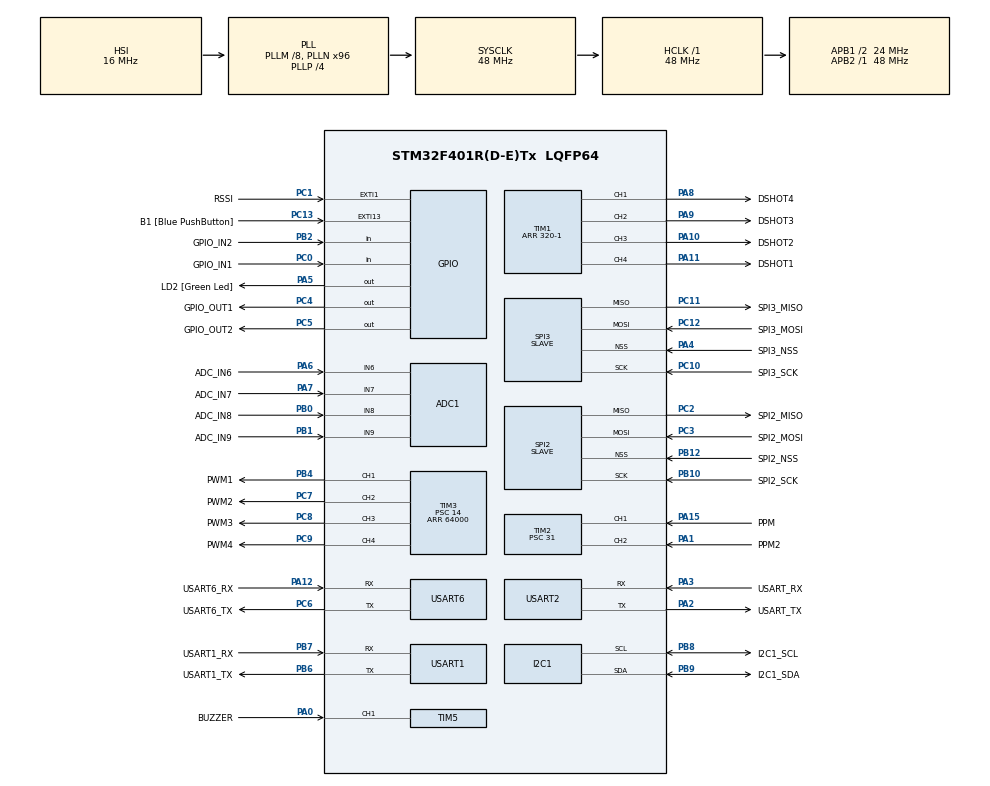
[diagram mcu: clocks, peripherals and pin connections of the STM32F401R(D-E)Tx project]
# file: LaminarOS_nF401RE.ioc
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ADC1.Channel-2\#ChannelRegularConversion=ADC_CHANNEL_6
ADC1.NbrOfConversionFlag=1
ADC1.Rank-2\#ChannelRegularConversion=1
ADC1.SamplingTime-2\#ChannelRegularConversion=ADC_SAMPLETIME_3CYCLES
ADC1.master=1
Dma.Request0=TIM1_CH1
Dma.Request1=TIM1_CH2
Dma.Request2=TIM1_CH3
Dma.Request3=TIM1_CH4/TRIG/COM
Dma.TIM1_CH1.0.Direction=DMA_MEMORY_TO_PERIPH
Dma.TIM1_CH1.0.FIFOMode=DMA_FIFOMODE_DISABLE
Dma.TIM1_CH1.0.Instance=DMA2_Stream1
Dma.TIM1_CH1.0.MemDataAlignment=DMA_MDATAALIGN_WORD
Dma.TIM1_CH1.0.MemInc=DMA_MINC_ENABLE
Dma.TIM1_CH1.0.Mode=DMA_CIRCULAR
Dma.TIM1_CH1.0.PeriphDataAlignment=DMA_PDATAALIGN_WORD
Dma.TIM1_CH1.0.PeriphInc=DMA_PINC_DISABLE
Dma.TIM1_CH1.0.Priority=DMA_PRIORITY_HIGH
Dma.TIM1_CH2.1.Direction=DMA_MEMORY_TO_PERIPH
Dma.TIM1_CH2.1.FIFOMode=DMA_FIFOMODE_DISABLE
Dma.TIM1_CH2.1.Instance=DMA2_Stream2
Dma.TIM1_CH2.1.MemDataAlignment=DMA_MDATAALIGN_WORD
Dma.TIM1_CH2.1.MemInc=DMA_MINC_ENABLE
Dma.TIM1_CH2.1.Mode=DMA_CIRCULAR
Dma.TIM1_CH2.1.PeriphDataAlignment=DMA_PDATAALIGN_WORD
Dma.TIM1_CH2.1.PeriphInc=DMA_PINC_DISABLE
Dma.TIM1_CH2.1.Priority=DMA_PRIORITY_HIGH
Dma.TIM1_CH3.2.Direction=DMA_MEMORY_TO_PERIPH
Dma.TIM1_CH3.2.FIFOMode=DMA_FIFOMODE_DISABLE
Dma.TIM1_CH3.2.Instance=DMA2_Stream6
Dma.TIM1_CH3.2.MemDataAlignment=DMA_MDATAALIGN_WORD
Dma.TIM1_CH3.2.MemInc=DMA_MINC_ENABLE
Dma.TIM1_CH3.2.Mode=DMA_CIRCULAR
Dma.TIM1_CH3.2.PeriphDataAlignment=DMA_PDATAALIGN_WORD
Dma.TIM1_CH3.2.PeriphInc=DMA_PINC_DISABLE
Dma.TIM1_CH3.2.Priority=DMA_PRIORITY_HIGH
Dma.TIM1_CH4/TRIG/COM.3.Direction=DMA_MEMORY_TO_PERIPH
Dma.TIM1_CH4/TRIG/COM.3.FIFOMode=DMA_FIFOMODE_DISABLE
Dma.TIM1_CH4/TRIG/COM.3.Instance=DMA2_Stream4
Dma.TIM1_CH4/TRIG/COM.3.MemDataAlignment=DMA_MDATAALIGN_WORD
Dma.TIM1_CH4/TRIG/COM.3.MemInc=DMA_MINC_ENABLE
Dma.TIM1_CH4/TRIG/COM.3.Mode=DMA_CIRCULAR
Dma.TIM1_CH4/TRIG/COM.3.PeriphDataAlignment=DMA_PDATAALIGN_WORD
Dma.TIM1_CH4/TRIG/COM.3.PeriphInc=DMA_PINC_DISABLE
Dma.TIM1_CH4/TRIG/COM.3.Priority=DMA_PRIORITY_HIGH
FREERTOS.Tasks01=defaultTask,24,128,StartDefaultTask,Default,NULL,Dynamic,NULL,NULL
FREERTOS.configENABLE_FPU=1
FREERTOS.configUSE_NEWLIB_REENTRANT=1
Mcu.Family=STM32F4
Mcu.Name=STM32F401R(D-E)Tx
Mcu.Package=LQFP64
NVIC.DMA2_Stream1_IRQn=true\:5\:0\:false\:false\:true\:true\:false\:true\:true
NVIC.DMA2_Stream2_IRQn=true\:5\:0\:false\:false\:true\:true\:false\:true\:true
NVIC.DMA2_Stream4_IRQn=true\:5\:0\:false\:false\:true\:true\:false\:true\:true
NVIC.DMA2_Stream6_IRQn=true\:5\:0\:false\:false\:true\:true\:false\:true\:true
NVIC.PriorityGroup=NVIC_PRIORITYGROUP_4
NVIC.TIM1_BRK_TIM9_IRQn=true\:5\:0\:false\:false\:true\:false\:false\:true\:true
NVIC.TIM1_TRG_COM_TIM11_IRQn=true\:15\:0\:false\:false\:true\:false\:false\:true\:true
NVIC.TIM1_UP_TIM10_IRQn=true\:5\:0\:false\:false\:true\:false\:false\:true\:true
NVIC.TimeBase=TIM1_TRG_COM_TIM11_IRQn
NVIC.TimeBaseIP=TIM11
PA0-WKUP.GPIO_Label=BUZZER
PA0-WKUP.Signal=S_TIM5_CH1
PA1.GPIO_Label=PPM2
PA1.Signal=S_TIM2_CH2
PA10.GPIO_Label=DSHOT2
PA10.Signal=S_TIM1_CH3
PA11.GPIO_Label=DSHOT1
PA11.Signal=S_TIM1_CH4
PA12.GPIO_Label=USART6_RX
PA12.Mode=Asynchronous
PA12.Signal=USART6_RX
PA13.GPIO_Label=TMS
PA13.Mode=Serial_Wire
PA13.Signal=SYS_JTMS-SWDIO
PA14.GPIO_Label=TCK
PA14.Mode=Serial_Wire
PA14.Signal=SYS_JTCK-SWCLK
PA15.GPIO_Label=PPM
PA15.Signal=S_TIM2_CH1_ETR
PA2.GPIO_Label=USART_TX
PA2.GPIO_Mode=GPIO_MODE_AF_PP
PA2.GPIO_PuPd=GPIO_NOPULL
PA2.GPIO_Speed=GPIO_SPEED_FREQ_LOW
PA2.Mode=Asynchronous
PA2.Signal=USART2_TX
PA3.GPIO_Label=USART_RX
PA3.GPIO_Mode=GPIO_MODE_AF_PP
PA3.GPIO_PuPd=GPIO_NOPULL
PA3.GPIO_Speed=GPIO_SPEED_FREQ_LOW
PA3.Mode=Asynchronous
PA3.Signal=USART2_RX
PA4.GPIO_Label=SPI3_NSS
PA4.Mode=NSS_Signal_Hard_Input
PA4.Signal=SPI3_NSS
PA5.GPIO_Label=LD2 [Green Led]
PA5.GPIO_PuPd=GPIO_NOPULL
PA5.GPIO_Speed=GPIO_SPEED_FREQ_LOW
PA5.Signal=GPIO_Output
PA6.GPIO_Label=ADC_IN6
PA6.Signal=ADCx_IN6
PA7.GPIO_Label=ADC_IN7
PA7.Signal=ADCx_IN7
PA8.GPIO_Label=DSHOT4
PA8.Signal=S_TIM1_CH1
PA9.GPIO_Label=DSHOT3
PA9.Signal=S_TIM1_CH2
PB0.GPIO_Label=ADC_IN8
PB0.Signal=ADCx_IN8
PB1.GPIO_Label=ADC_IN9
PB1.Signal=ADCx_IN9
PB10.GPIO_Label=SPI2_SCK
PB10.Mode=Full_Duplex_Slave
PB10.Signal=SPI2_SCK
PB12.GPIO_Label=SPI2_NSS
PB12.Mode=NSS_Signal_Hard_Input
PB12.Signal=SPI2_NSS
PB2.GPIO_Label=GPIO_IN2
PB2.Signal=GPIO_Input
PB3.GPIO_Label=SWO
PB3.Signal=SYS_JTDO-SWO
PB4.GPIO_Label=PWM1
PB4.Signal=S_TIM3_CH1
PB6.GPIO_Label=USART1_TX
PB6.Mode=Asynchronous
PB6.Signal=USART1_TX
PB7.GPIO_Label=USART1_RX
PB7.Mode=Asynchronous
PB7.Signal=USART1_RX
PB8.GPIO_Label=I2C1_SCL
PB8.Mode=I2C
PB8.Signal=I2C1_SCL
PB9.GPIO_Label=I2C1_SDA
PB9.Mode=I2C
PB9.Signal=I2C1_SDA
PC0.GPIO_Label=GPIO_IN1
PC0.Signal=GPIO_Input
PC1.GPIO_Label=RSSI
PC1.Signal=GPXTI1
PC10.GPIO_Label=SPI3_SCK
PC10.Mode=Full_Duplex_Slave
PC10.Signal=SPI3_SCK
PC11.GPIO_Label=SPI3_MISO
PC11.Mode=Full_Duplex_Slave
PC11.Signal=SPI3_MISO
PC12.GPIO_Label=SPI3_MOSI
PC12.Mode=Full_Duplex_Slave
PC12.Signal=SPI3_MOSI
PC13-ANTI_TAMP.GPIO_Label=B1 [Blue PushButton]
PC13-ANTI_TAMP.GPIO_ModeDefaultEXTI=GPIO_MODE_IT_FALLING
PC13-ANTI_TAMP.GPIO_PuPd=GPIO_NOPULL
PC13-ANTI_TAMP.Signal=GPXTI13
PC14-OSC32_IN.Mode=LSE-External-Oscillator
PC14-OSC32_IN.Signal=RCC_OSC32_IN
PC15-OSC32_OUT.Mode=LSE-External-Oscillator
PC15-OSC32_OUT.Signal=RCC_OSC32_OUT
PC2.GPIO_Label=SPI2_MISO
PC2.Mode=Full_Duplex_Slave
PC2.Signal=SPI2_MISO
PC3.GPIO_Label=SPI2_MOSI
PC3.Mode=Full_Duplex_Slave
PC3.Signal=SPI2_MOSI
PC4.GPIO_Label=GPIO_OUT1
PC4.Signal=GPIO_Output
PC5.GPIO_Label=GPIO_OUT2
PC5.Signal=GPIO_Output
PC6.GPIO_Label=USART6_TX
PC6.Mode=Asynchronous
PC6.Signal=USART6_TX
PC7.GPIO_Label=PWM2
PC7.Signal=S_TIM3_CH2
PC8.GPIO_Label=PWM3
PC8.Signal=S_TIM3_CH3
PC9.GPIO_Label=PWM4
PC9.Signal=S_TIM3_CH4
PH0\ -\ OSC_IN.Mode=HSE-External-Clock-Source
PH0\ -\ OSC_IN.Signal=RCC_OSC_IN
PH1\ -\ OSC_OUT.Mode=HSE-External-Clock-Source
PH1\ -\ OSC_OUT.Signal=RCC_OSC_OUT
ProjectManager.HeapSize=0x200
ProjectManager.StackSize=0x400
ProjectManager.TargetToolchain=STM32CubeIDE
RCC.48MHZClocksFreq_Value=27428571.42857143
RCC.AHBFreq_Value=48000000
RCC.APB1CLKDivider=RCC_HCLK_DIV2
RCC.APB1Freq_Value=24000000
RCC.APB1TimFreq_Value=48000000
RCC.APB2Freq_Value=48000000
RCC.APB2TimFreq_Value=48000000
RCC.CortexFreq_Value=48000000
RCC.HCLKFreq_Value=48000000
RCC.HSE_VALUE=8000000
RCC.HSI_VALUE=16000000
RCC.PLLM=8
RCC.PLLN=96
RCC.PLLP=RCC_PLLP_DIV4
RCC.PLLQ=7
RCC.SYSCLKFreq_VALUE=48000000
RCC.SYSCLKSource=RCC_SYSCLKSOURCE_PLLCLK
RCC.VCOOutputFreq_Value=192000000
SH.ADCx_IN6.0=ADC1_IN6,IN6
SH.ADCx_IN7.0=ADC1_IN7,IN7
SH.ADCx_IN8.0=ADC1_IN8,IN8
SH.ADCx_IN9.0=ADC1_IN9,IN9
SH.S_TIM1_CH1.0=TIM1_CH1,PWM Generation1 CH1
SH.S_TIM1_CH2.0=TIM1_CH2,PWM Generation2 CH2
SH.S_TIM1_CH3.0=TIM1_CH3,PWM Generation3 CH3
SH.S_TIM1_CH4.0=TIM1_CH4,PWM Generation4 CH4
SH.S_TIM2_CH1_ETR.0=TIM2_CH1,Input_Capture1_from_TI1
SH.S_TIM2_CH2.0=TIM2_CH2,Input_Capture2_from_TI2
SH.S_TIM3_CH1.0=TIM3_CH1,PWM Generation1 CH1
SH.S_TIM3_CH2.0=TIM3_CH2,PWM Generation2 CH2
SH.S_TIM3_CH3.0=TIM3_CH3,PWM Generation3 CH3
SH.S_TIM3_CH4.0=TIM3_CH4,PWM Generation4 CH4
SH.S_TIM5_CH1.0=TIM5_CH1,Input_Capture1_from_TI1
SPI2.CLKPhase=SPI_PHASE_2EDGE
SPI2.Direction=SPI_DIRECTION_2LINES
SPI2.Mode=SPI_MODE_SLAVE
SPI2.VirtualNSS=VM_NSSHARD
SPI2.VirtualType=VM_SLAVE
SPI3.CLKPhase=SPI_PHASE_2EDGE
SPI3.Direction=SPI_DIRECTION_2LINES
SPI3.Mode=SPI_MODE_SLAVE
SPI3.VirtualNSS=VM_NSSHARD
SPI3.VirtualType=VM_SLAVE
TIM1.Channel-PWM\ Generation1\ CH1=TIM_CHANNEL_1
TIM1.Channel-PWM\ Generation2\ CH2=TIM_CHANNEL_2
TIM1.Channel-PWM\ Generation3\ CH3=TIM_CHANNEL_3
TIM1.Channel-PWM\ Generation4\ CH4=TIM_CHANNEL_4
TIM1.Period=320-1
TIM2.AutoReloadPreload=TIM_AUTORELOAD_PRELOAD_ENABLE
TIM2.Channel-Input_Capture1_from_TI1=TIM_CHANNEL_1
TIM2.Channel-Input_Capture2_from_TI2=TIM_CHANNEL_2
TIM2.Period=65535
TIM2.Prescaler=31
TIM3.Channel-PWM\ Generation1\ CH1=TIM_CHANNEL_1
TIM3.Channel-PWM\ Generation2\ CH2=TIM_CHANNEL_2
TIM3.Channel-PWM\ Generation3\ CH3=TIM_CHANNEL_3
TIM3.Channel-PWM\ Generation4\ CH4=TIM_CHANNEL_4
TIM3.Period=64000
TIM3.Prescaler=14
TIM5.Channel-Input_Capture1_from_TI1=TIM_CHANNEL_1
TIM5.Period=48000
TIM5.Prescaler=2
USART1.VirtualMode=VM_ASYNC
USART2.VirtualMode=VM_ASYNC
USART6.VirtualMode=VM_ASYNC
VP_ADC1_Vbat_Input.Mode=IN-Vbat
VP_FREERTOS_VS_CMSIS_V2.Mode=CMSIS_V2
VP_SYS_VS_tim11.Mode=TIM11
VP_TIM1_VS_ClockSourceINT.Mode=Internal
VP_TIM2_VS_ClockSourceINT.Mode=Internal
VP_TIM3_VS_ClockSourceINT.Mode=Internal
VP_TIM5_VS_ClockSourceINT.Mode=Internal
board=NUCLEO-F401RE

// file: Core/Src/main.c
/* USER CODE BEGIN Header */
/**
  ******************************************************************************
  * @file           : main.c
  * @brief          : Main program body
  ******************************************************************************
  * @attention
  *
  * Copyright (c) 2022 STMicroelectronics.
  * All rights reserved.
  *
  * This software is licensed under terms that can be found in the LICENSE file
  * in the root directory of this software component.
  * If no LICENSE file comes with this software, it is provided AS-IS.
  *
  ******************************************************************************
  */
/* USER CODE END Header */
#include "main.h"
#include "cmsis_os.h"
#include "adc.h"
#include "dma.h"
#include "i2c.h"
#include "spi.h"
#include "tim.h"
#include "usart.h"
#include "gpio.h"

void SystemClock_Config(void);
void MX_FREERTOS_Init(void);

/* USER CODE BEGIN 0 */

void losInit(void)
{
  /* Reset of all peripherals, Initializes the Flash interface and the Systick. */
  HAL_Init();

  SensorFusionInterfaceInit();
  SystemClock_Config();

  /* Initialize all configured peripherals */
  MX_GPIO_Init();
  MX_USART2_UART_Init();
  MX_DMA_Init();
  MX_TIM3_Init();
  MX_TIM1_Init();
  MX_ADC1_Init();
  MX_I2C1_Init();
  MX_SPI2_Init();
  MX_SPI3_Init();
  MX_TIM2_Init();
  MX_TIM5_Init();
  MX_USART1_UART_Init();
  MX_USART6_UART_Init();

  /* Init scheduler */
  osKernelInitialize();  /* Call init function for freertos objects (in freertos.c) */
  MX_FREERTOS_Init();
}

void losKernelStart(void) {
  /* Start scheduler */
  osKernelStart();
}

/* USER CODE END 0 */

void SystemClock_Config(void)
{
  RCC_OscInitTypeDef RCC_OscInitStruct = {0};
  RCC_ClkInitTypeDef RCC_ClkInitStruct = {0};

  /** Configure the main internal regulator output voltage
  */
  __HAL_RCC_PWR_CLK_ENABLE();
  __HAL_PWR_VOLTAGESCALING_CONFIG(PWR_REGULATOR_VOLTAGE_SCALE2);

  /** Initializes the RCC Oscillators according to the specified parameters
  * in the RCC_OscInitTypeDef structure.
  */
  RCC_OscInitStruct.OscillatorType = RCC_OSCILLATORTYPE_HSI;
  RCC_OscInitStruct.HSIState = RCC_HSI_ON;
  RCC_OscInitStruct.HSICalibrationValue = RCC_HSICALIBRATION_DEFAULT;
  RCC_OscInitStruct.PLL.PLLState = RCC_PLL_ON;
  RCC_OscInitStruct.PLL.PLLSource = RCC_PLLSOURCE_HSI;
  RCC_OscInitStruct.PLL.PLLM = 8;
  RCC_OscInitStruct.PLL.PLLN = 96;
  RCC_OscInitStruct.PLL.PLLP = RCC_PLLP_DIV4;
  RCC_OscInitStruct.PLL.PLLQ = 7;
  if (HAL_RCC_OscConfig(&RCC_OscInitStruct) != HAL_OK)
  {
    Error_Handler();
  }

  /** Initializes the CPU, AHB and APB buses clocks
  */
  RCC_ClkInitStruct.ClockType = RCC_CLOCKTYPE_HCLK|RCC_CLOCKTYPE_SYSCLK
                              |RCC_CLOCKTYPE_PCLK1|RCC_CLOCKTYPE_PCLK2;
  RCC_ClkInitStruct.SYSCLKSource = RCC_SYSCLKSOURCE_PLLCLK;
  RCC_ClkInitStruct.AHBCLKDivider = RCC_SYSCLK_DIV1;
  RCC_ClkInitStruct.APB1CLKDivider = RCC_HCLK_DIV2;
  RCC_ClkInitStruct.APB2CLKDivider = RCC_HCLK_DIV1;

  if (HAL_RCC_ClockConfig(&RCC_ClkInitStruct, FLASH_LATENCY_1) != HAL_OK)
  {
    Error_Handler();
  }
}

void HAL_TIM_PeriodElapsedCallback(TIM_HandleTypeDef *htim)
{
  if (htim->Instance == TIM11) {
    HAL_IncTick();
  }
}

void Error_Handler(void)
{
  __disable_irq();
  while (1)
  {
  }
}

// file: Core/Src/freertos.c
/* USER CODE BEGIN Header */
/**
  ******************************************************************************
  * File Name          : freertos.c
  * Description        : Code for freertos applications
  ******************************************************************************
  * @attention
  *
  * Copyright (c) 2022 STMicroelectronics.
  * All rights reserved.
  *
  * This software is licensed under terms that can be found in the LICENSE file
  * in the root directory of this software component.
  * If no LICENSE file comes with this software, it is provided AS-IS.
  *
  ******************************************************************************
  */
/* USER CODE END Header */

#include "FreeRTOS.h"
#include "task.h"
#include "main.h"
#include "cmsis_os.h"

/* USER CODE BEGIN Includes */
#include "../../../../LOS_Interface/Inc/LOS_Position_Interface.h"
/* USER CODE END Includes */

/* Definitions for defaultTask */
osThreadId_t defaultTaskHandle;
const osThreadAttr_t defaultTask_attributes = {
  .name = "defaultTask",
  .stack_size = 128 * 4,
  .priority = (osPriority_t) osPriorityNormal,
};
/* Definitions for LOS_PosHandle */
osThreadId_t LOS_PosHandleHandle;
const osThreadAttr_t LOS_PosHandle_attributes = {
  .name = "LOS_PosHandle",
  .stack_size = 128 * 4,
  .priority = (osPriority_t) osPriorityNormal,
};

void StartDefaultTask(void *argument);
void StartLosPosition(void *argument);

void MX_FREERTOS_Init(void); /* (MISRA C 2004 rule 8.1) */

void MX_FREERTOS_Init(void) {
  /* USER CODE BEGIN Init */
	LOS_Pos_Init();
  /* USER CODE END Init */

  /* Create the thread(s) */
  /* creation of defaultTask */
  defaultTaskHandle = osThreadNew(StartDefaultTask, NULL, &defaultTask_attributes);

  /* creation of LOS_PosHandle */
  LOS_PosHandleHandle = osThreadNew(StartLosPosition, NULL, &LOS_PosHandle_attributes);

}

void StartDefaultTask(void *argument)
{
  for(;;)
  {
    osDelay(1);
  }
}

void StartLosPosition(void *argument)
{
	/* USER CODE BEGIN StartLosPosition */

	/* Infinite loop */
	for(;;)
	{
		LOS_Pos_Execute();
		osDelay(1);
	}
	/* USER CODE END StartLosPosition */
}
